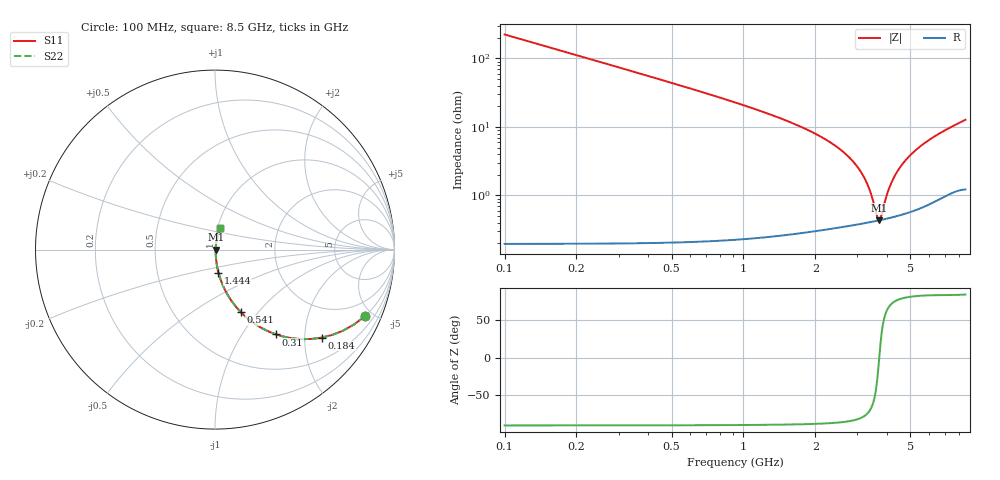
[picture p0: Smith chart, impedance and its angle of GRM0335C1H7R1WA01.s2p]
!Murata Part Number: GRM0335C1H7R1WA01
!These Parameters are Measured in Series Mode Connection
!Data Generated on Mar 30, 2021
!  o--ll--o
!Port1  Port2
!  o------o
!Operation Temp=25[degC], DC Bias Voltage=0[V]
!Freq. Start=100[MHz] Stop=9[GHz] 401[Steps]
# Hz S RI R 50
!Freq.(Hz) S11(Real) S11(Imag) S21(Real) S21(Imag) S12(Real) S12(Imag) S22(Real) S22(Imag)
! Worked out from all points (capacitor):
!   401 points, 100 MHz to 8.5 GHz, reference 50 ohm
!   read as one part in series: C = 7.1 pF near 142 MHz
!   lowest |Z| = 433 mohm at 3.691 GHz (marker M1)
!   series resonance near 3.703 GHz, so ESL is about 260 pH
!   S11 on the Smith chart (normalised r, x): 100 MHz: 1.00, -4.48; 184 MHz: 1.00, -2.43; 310 MHz: 1.00, -1.44; 541 MHz: 1.00, -0.81; 1.444 GHz: 1.01, -0.26; 8.5 GHz: 1.02, +0.25
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1e8  0.8336 -0.372  0.1664 0.372  0.1664 0.372  0.8336 -0.372
1.84e8  0.5961 -0.4899  0.4039 0.4899  0.4039 0.4899  0.5961 -0.4899
3.1e8  0.3406 -0.4725  0.6594 0.4725  0.6594 0.4725  0.3406 -0.4725
4.15e8  0.2223 -0.4139  0.7777 0.4139  0.7777 0.4139  0.2223 -0.4139
5.41e8  0.1424 -0.347  0.8576 0.347  0.8576 0.347  0.1424 -0.347
8.56e8  0.0597 -0.2325  0.9403 0.2325  0.9403 0.2325  0.0597 -0.2325
1.444e9  0.0195 -0.1287  0.9805 0.1287  0.9805 0.1287  0.0195 -0.1287
1.507e9  0.0177 -0.1216  0.9823 0.1216  0.9823 0.1216  0.0177 -0.1216
2.41e9  0.00615 -0.0533  0.9938 0.0533  0.9938 0.0533  0.00615 -0.0533
2.914e9  0.00453 -0.0293  0.9955 0.0293  0.9955 0.0293  0.00453 -0.0293
3.124e9  0.00427 -0.0207  0.9957 0.0207  0.9957 0.0207  0.00427 -0.0207
3.313e9  0.00417 -0.0135  0.9958 0.0135  0.9958 0.0135  0.00417 -0.0135
3.46e9  0.00417 -0.00827  0.9958 0.00827  0.9958 0.00827  0.00417 -0.00827
3.628e9  0.00425 -0.0025  0.9958 0.0025  0.9958 0.0025  0.00425 -0.0025
3.691e9  0.00429 -0.000402  0.9957 0.000402  0.9957 0.000402  0.00429 -0.000402
3.775e9  0.00437 0.00234  0.9956 -0.00234  0.9956 -0.00234  0.00437 0.00234
4.048e9  0.00473 0.0109  0.9953 -0.0109  0.9953 -0.0109  0.00473 0.0109
4.3e9  0.0052 0.0184  0.9948 -0.0184  0.9948 -0.0184  0.0052 0.0184
4.867e9  0.00668 0.0343  0.9933 -0.0343  0.9933 -0.0343  0.00668 0.0343
5.707e9  0.00993 0.0559  0.9901 -0.0559  0.9901 -0.0559  0.00993 0.0559
7.114e9  0.018 0.0894  0.982 -0.0894  0.982 -0.0894  0.018 0.0894
8.5e9  0.0272 0.1215  0.9728 -0.1215  0.9728 -0.1215  0.0272 0.1215
